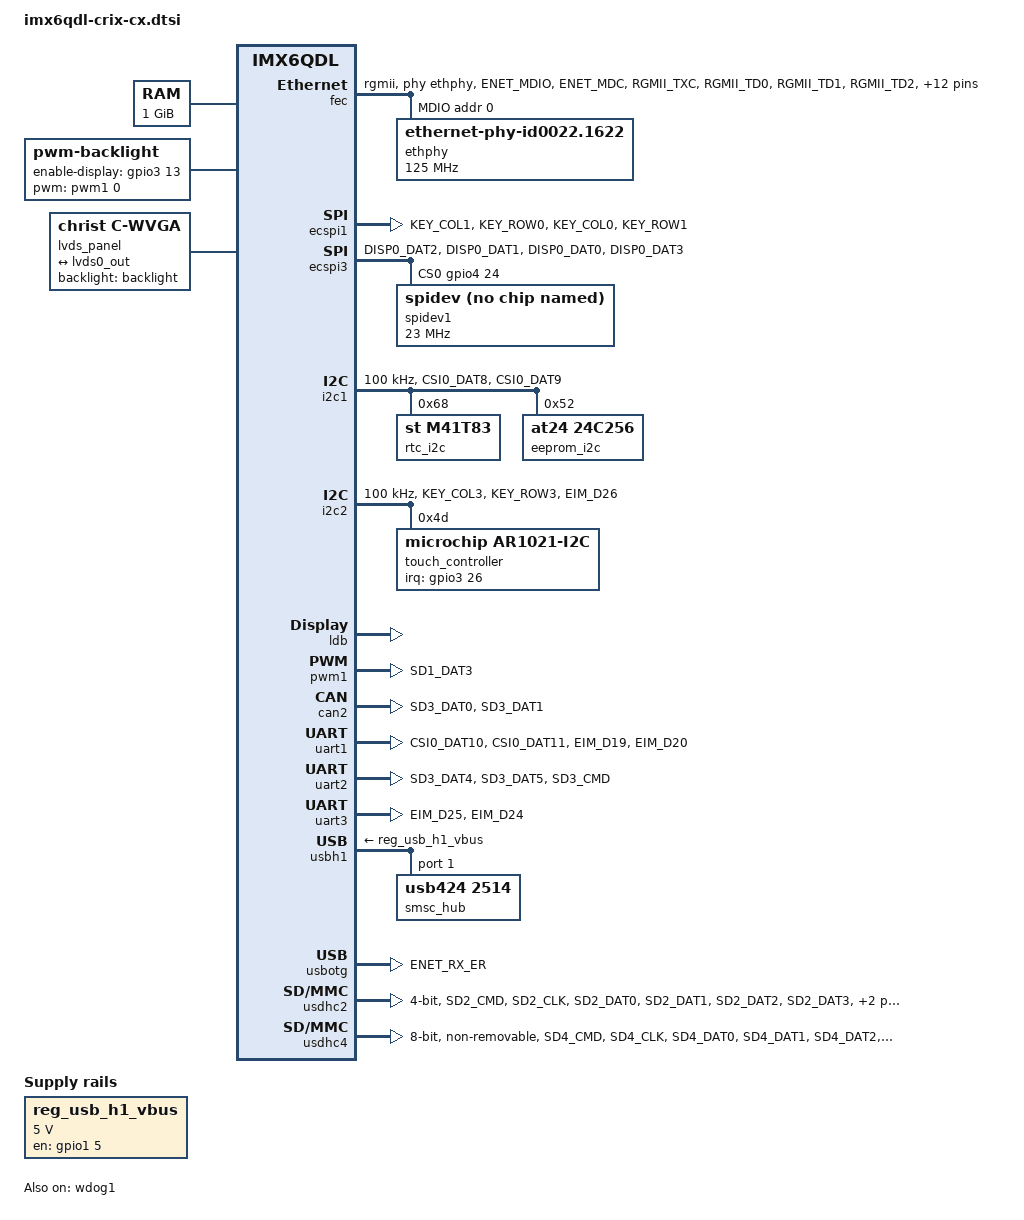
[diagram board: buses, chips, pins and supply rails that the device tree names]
// SPDX-License-Identifier: GPL-2.0+
/*
 * Copyright (C) 2019 Christ Electronic Systems GmbH
 * Peter Fink <pfink@christ-es.de>
 * Copyright 2012-2015 Freescale Semiconductor, Inc.
 * Copyright 2011 Linaro Ltd.
 *
 * The code contained herein is licensed under the GNU General Public
 * License. You may obtain a copy of the GNU General Public License
 * Version 2 or later at the following locations:
 *
 * http://www.opensource.org/licenses/gpl-license.html
 * http://www.gnu.org/copyleft/gpl.html
 */

#include <dt-bindings/clock/imx6qdl-clock.h>
#include <dt-bindings/gpio/gpio.h>
#include <dt-bindings/input/input.h>

/ {
	aliases {
		backlight_lvds = &backlight;
		fb_lvds = &lvds_panel;
		t_lvds = "/panel/panel-timing";
		ldb = &ldb;
		ethernet1 = "/soc/aips-bus@2100000/usb@2184200/smsc_hub@1/asix_enet@1";
	};

	chosen {
		stdout-path = &uart1;
	};

	memory@10000000 {
		reg = <0x10000000 0x40000000>;
	};

	regulators {
		compatible = "simple-bus";
		#address-cells = <1>;
		#size-cells = <0>;

		reg_usb_h1_vbus: regulator@1 {
			compatible = "regulator-fixed";
			reg = <0>;
			regulator-name = "usb_h1_vbus";
			regulator-min-microvolt = <5000000>;
			regulator-max-microvolt = <5000000>;
			pinctrl-names = "default";
			pinctrl-0 = <&pinctrl_usbhub_reset>; /* smsc2415 reset */
			gpio = <&gpio1 5 0>;
			enable-active-high;
			startup-delay-us = <2000>;
			status = "okay";
		};
	};

	backlight: backlight {
		compatible = "pwm-backlight";
		pwms = <&pwm1 0 5000000>;
		brightness-levels = <0 4 8 16 32 64 128 255>;
		default-brightness-level = <7>;
		pinctrl-0 = <&pinctrl_bkl>;
		enable-display-gpios = <&gpio3 13 0>;
		status = "okay";
	};

	lvds_panel: panel {
		compatible = "christ,c-wvga", "panel-lvds";
		backlight = <&backlight>;

		width-mm = <152>;
		height-mm = <91>;

		data-mapping = "jeida-18";

		panel-timing {
			/* 800x480 @59Hz */
			clock-frequency = <59476342>;
			hactive = <800>;
			vactive = <480>;
			hsync-len = <72>;
			hfront-porch = <24>;
			hback-porch = <96>;
			vsync-len = <7>;
			vfront-porch = <10>;
			vback-porch = <15>;

		};

		port {
			panel_in: endpoint {
				remote-endpoint = <&lvds0_out>;
			};
		};
	};
};

&clks {
	assigned-clocks = <&clks IMX6QDL_CLK_LDB_DI0_SEL>,
			  <&clks IMX6QDL_CLK_LDB_DI1_SEL>;
	assigned-clock-parents = <&clks IMX6QDL_CLK_PLL5_VIDEO>,
				 <&clks IMX6QDL_CLK_PLL5_VIDEO>;
};

&fec {
	pinctrl-names = "default";
	pinctrl-0 = <&pinctrl_enet>;
	phy-mode = "rgmii";
	interrupts-extended = <&gpio1 6 IRQ_TYPE_LEVEL_HIGH>,
			      <&intc 0 119 IRQ_TYPE_LEVEL_HIGH>;
	fsl,err006687-workaround-present;
	phy-handle = <&ethphy>;
	phy-reset-gpios = <&gpio1 25 GPIO_ACTIVE_LOW>;
	phy-reset-duration = <1>;
	txen-skew-ps = <0>;
	txc-skew-ps = <1680>;
	rxdv-skew-ps = <0>;
	rxc-skew-ps = <1680>;
	rxd0-skew-ps = <0>;
	rxd1-skew-ps = <0>;
	rxd2-skew-ps = <0>;
	rxd3-skew-ps = <0>;
	txd0-skew-ps = <0>;
	txd1-skew-ps = <0>;
	txd2-skew-ps = <0>;
	txd3-skew-ps = <0>;
	status = "okay";

	mdio {
		#address-cells = <1>;
		#size-cells = <0>;

		ethphy: ethernet-phy@0 {
			compatible = "ethernet-phy-id0022.1622", "ethernet-phy-ieee802.3-c22";
			reg = <0>;
			max-speed = <1000>;
			clock-frequency = <125000000>;
		};
	};
};

&ecspi1 {
	fsl,spi-num-chipselects = <1>;
	cs-gpios = <&gpio4 9 0>;
	pinctrl-names = "default";
	pinctrl-0 = <&pinctrl_ecspi1>;
	status = "okay";

	at25@0 {
		compatible = "cypress,fm25";
		reg = <0>;
		spi-max-frequency = <40000000>;
		pagesize = <256>;
		size = <131072>;
		address-width = <24>;
		status = "disabled";
	};
};

&ecspi3 {
	fsl,spi-num-chipselects = <1>;
	cs-gpios = <&gpio4 24 0>;
	pinctrl-names = "default";
	pinctrl-0 = <&pinctrl_ecspi3>;
	status = "okay";

	spidev1: spidev@1 {
		compatible = "spidev";
		reg = <0>;
		spi-max-frequency = <23000000>;
	};
};

&i2c1 {
	clock-frequency = <100000>;
	pinctrl-names = "default";
	pinctrl-0 = <&pinctrl_i2c1>;
	status = "okay";

	rtc_i2c: rtc@68 {
		compatible = "st,m41t83";
		reg = <0x68>;
		#clock-cells = <0>;
	};

	eeprom_i2c: at24@52 {
		compatible = "at24,24c256";
		pagesize = <32>;
		reg = <0x52>;
	};

};

&i2c2 {
	clock-frequency = <100000>;
	pinctrl-names = "default";
	pinctrl-0 = <&pinctrl_i2c2>;
	status = "okay";

	touch_controller: ar1021@4d {
		compatible = "microchip,ar1021-i2c";
		reg = <0x4d>;
		interrupt-parent = <&gpio3>;
		interrupts = <26 IRQ_TYPE_LEVEL_HIGH>;
	};
};

&iomuxc {
	pinctrl-names = "default";
	pinctrl-0 = <&pinctrl_powerfail>;

	imx6qdl-crix {
		pinctrl_enet: enetgrp {
			fsl,pins = <
				MX6QDL_PAD_ENET_MDIO__ENET_MDIO		0x1b0b0
				MX6QDL_PAD_ENET_MDC__ENET_MDC		0x1b0b0
				MX6QDL_PAD_RGMII_TXC__RGMII_TXC		0x1b0b0
				MX6QDL_PAD_RGMII_TD0__RGMII_TD0		0x1b0b0
				MX6QDL_PAD_RGMII_TD1__RGMII_TD1		0x1b0b0
				MX6QDL_PAD_RGMII_TD2__RGMII_TD2		0x1b0b0
				MX6QDL_PAD_RGMII_TD3__RGMII_TD3		0x1b0b0
				MX6QDL_PAD_RGMII_TX_CTL__RGMII_TX_CTL	0x1b0b0
				MX6QDL_PAD_ENET_REF_CLK__ENET_TX_CLK	0x1b0b0
				MX6QDL_PAD_RGMII_RXC__RGMII_RXC		0x1b0b0
				MX6QDL_PAD_RGMII_RD0__RGMII_RD0		0x1b0b0
				MX6QDL_PAD_RGMII_RD1__RGMII_RD1		0x1b0b0
				MX6QDL_PAD_RGMII_RD2__RGMII_RD2		0x1b0b0
				MX6QDL_PAD_RGMII_RD3__RGMII_RD3		0x1b0b0
				MX6QDL_PAD_RGMII_RX_CTL__RGMII_RX_CTL	0x1b0b0
				MX6QDL_PAD_ENET_CRS_DV__GPIO1_IO25	0x1b0b0 /* reset pin */
				MX6QDL_PAD_GPIO_6__ENET_IRQ		0x000b1 /* workaround for err006687 */
			>;
		};

		pinctrl_bkl: gpio_bkl {
			fsl,pins = <
				MX6QDL_PAD_EIM_DA13__GPIO3_IO13		0x130b0 /* PD */
			>;
		};

		pinctrl_i2c1: i2c1grp {
			fsl,pins = <
				MX6QDL_PAD_CSI0_DAT8__I2C1_SDA		0x4001b8b1
				MX6QDL_PAD_CSI0_DAT9__I2C1_SCL		0x4001b8b1
			>;
		};

		pinctrl_i2c2: i2c2grp {
			fsl,pins = <
				MX6QDL_PAD_KEY_COL3__I2C2_SCL		0x4001b8b1
				MX6QDL_PAD_KEY_ROW3__I2C2_SDA		0x4001b8b1
				MX6QDL_PAD_EIM_D26__GPIO3_IO26		0x130b0 /* AR1021 INT */
			>;
		};

		pinctrl_ecspi1: ecspi1grp {
			fsl,pins = <
				MX6QDL_PAD_KEY_COL1__ECSPI1_MISO	0x100b1
				MX6QDL_PAD_KEY_ROW0__ECSPI1_MOSI	0x100b1
				MX6QDL_PAD_KEY_COL0__ECSPI1_SCLK	0x100b1
				MX6QDL_PAD_KEY_ROW1__GPIO4_IO09		0x1b0b0
			>;
		};

		pinctrl_ecspi3: ecspi3grp {
			fsl,pins = <
				MX6QDL_PAD_DISP0_DAT2__ECSPI3_MISO	0x100b1
				MX6QDL_PAD_DISP0_DAT1__ECSPI3_MOSI	0x100b1
				MX6QDL_PAD_DISP0_DAT0__ECSPI3_SCLK	0x100b1
				MX6QDL_PAD_DISP0_DAT3__GPIO4_IO24	0x1b0b0
			>;
		};

		pinctrl_pwm1: pwm1grp {
			fsl,pins = <
				MX6QDL_PAD_SD1_DAT3__PWM1_OUT		0x1b0b1
			>;
		};

		pinctrl_uart1: uart1grp {
			fsl,pins = <
				MX6QDL_PAD_CSI0_DAT10__UART1_TX_DATA	0x1b0b1
				MX6QDL_PAD_CSI0_DAT11__UART1_RX_DATA	0x1b0b1
				MX6QDL_PAD_EIM_D19__UART1_CTS_B		0x1b0b1
				MX6QDL_PAD_EIM_D20__UART1_RTS_B		0x1b0b1
			>;
		};

		pinctrl_uart2: uart2grp {
			fsl,pins = <
				MX6QDL_PAD_SD3_DAT4__UART2_RX_DATA	0x1b0b1
				MX6QDL_PAD_SD3_DAT5__UART2_TX_DATA	0x1b0b1
				MX6QDL_PAD_SD3_CMD__UART2_CTS_B		0x1b0b1
			>;
		};

		pinctrl_uart3: uart3grp {
			fsl,pins = <
				MX6QDL_PAD_EIM_D25__UART3_RX_DATA	0x1b0b1
				MX6QDL_PAD_EIM_D24__UART3_TX_DATA	0x1b0b1
			>;
		};

		pinctrl_usbotg: usbotggrp {
			fsl,pins = <
				MX6QDL_PAD_ENET_RX_ER__USB_OTG_ID	0x17059
			>;
		};

		pinctrl_usbhub_reset: usbhub_reset {
			fsl,pins = <
				MX6QDL_PAD_GPIO_5__GPIO1_IO05		0x130b0 /* PD */
			>;
		};

		pinctrl_usdhc2: usdhc2grp {
			fsl,pins = <
				MX6QDL_PAD_SD2_CMD__SD2_CMD		0x17059
				MX6QDL_PAD_SD2_CLK__SD2_CLK		0x10059
				MX6QDL_PAD_SD2_DAT0__SD2_DATA0		0x17059
				MX6QDL_PAD_SD2_DAT1__SD2_DATA1		0x17059
				MX6QDL_PAD_SD2_DAT2__SD2_DATA2		0x17059
				MX6QDL_PAD_SD2_DAT3__SD2_DATA3		0x17059
				MX6QDL_PAD_NANDF_D2__GPIO2_IO02		0x1b0b0 /* card detect */
			>;
		};

		pinctrl_usdhc4: usdhc4grp {
			fsl,pins = <
				MX6QDL_PAD_SD4_CMD__SD4_CMD		0x17059
				MX6QDL_PAD_SD4_CLK__SD4_CLK		0x10059
				MX6QDL_PAD_SD4_DAT0__SD4_DATA0		0x17059
				MX6QDL_PAD_SD4_DAT1__SD4_DATA1		0x17059
				MX6QDL_PAD_SD4_DAT2__SD4_DATA2		0x17059
				MX6QDL_PAD_SD4_DAT3__SD4_DATA3		0x17059
				MX6QDL_PAD_SD4_DAT4__SD4_DATA4		0x17059
				MX6QDL_PAD_SD4_DAT5__SD4_DATA5		0x17059
				MX6QDL_PAD_SD4_DAT6__SD4_DATA6		0x17059
				MX6QDL_PAD_SD4_DAT7__SD4_DATA7		0x17059
			>;
		};

		pinctrl_flexcan2: can2grp {
			fsl,pins = <
				MX6QDL_PAD_SD3_DAT0__FLEXCAN2_TX	0x1b0b0
				MX6QDL_PAD_SD3_DAT1__FLEXCAN2_RX	0x1b0b0
			>;
		};

		pinctrl_powerfail: powerfailgrp {
			fsl,pins = <
				MX6QDL_PAD_GPIO_9__GPIO1_IO09		0x130b0
			>;
		};
	};
};

&ldb {
	status = "okay";

	lvds-channel@0 {
		fsl,data-mapping = "spwg";
		fsl,data-width = <18>;
		status = "okay";

		port@4 {
			reg = <4>;

			lvds0_out: endpoint {
				remote-endpoint = <&panel_in>;
			};
		};
	};
};

&pwm1 {
	pinctrl-names = "default";
	pinctrl-0 = <&pinctrl_pwm1>;
	status = "okay";
};

&snvs_poweroff {
	status = "disabled";
};

&can2 {
	pinctrl-names = "default";
	pinctrl-0 = <&pinctrl_flexcan2>;
	status = "okay";
};

&uart1 {
	pinctrl-names = "default";
	pinctrl-0 = <&pinctrl_uart1>;
	status = "okay";
};

&uart2 {
	pinctrl-names = "default";
	pinctrl-0 = <&pinctrl_uart2>;
	status = "okay";
};

&uart3 {
	pinctrl-names = "default";
	pinctrl-0 = <&pinctrl_uart3>;
	status = "okay";
};

&usbh1 {
	vbus-supply = <&reg_usb_h1_vbus>;
	status = "okay";
	#address-cells = <1>;
	#size-cells = <0>;

	smsc_hub@1 {
		compatible = "usb424,2514";
		reg = <1>;
		#address-cells = <1>;
		#size-cells = <0>;

		asix_enet@1 {
			compatible = "usbb95,772b";
			reg = <4>;
			local-mac-address = [00 00 00 00 00 00];
		};
	};
};

&usbotg {
	pinctrl-names = "default";
	pinctrl-0 = <&pinctrl_usbotg>;
	disable-over-current;
	srp-disable;
	hnp-disable;
	adp-disable;
	status = "okay";
};

&usdhc2 {
	pinctrl-names = "default";
	pinctrl-0 = <&pinctrl_usdhc2>;
	bus-width = <4>;
	cd-gpios = <&gpio2 2 GPIO_ACTIVE_LOW>;
	no-1-8-v;
	status = "okay";
};

&usdhc4 {
	pinctrl-names = "default";
	pinctrl-0 = <&pinctrl_usdhc4>;
	bus-width = <8>;
	non-removable;
	no-1-8-v;
	keep-power-in-suspend;
	status = "okay";
};

&wdog1 {
	status = "okay";
};

&wdog2 {
	status = "disabled";
};
